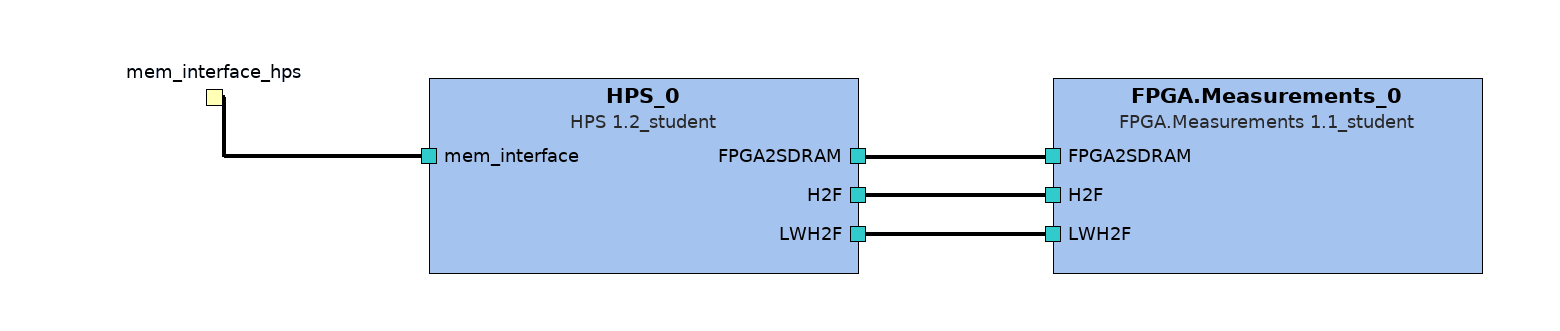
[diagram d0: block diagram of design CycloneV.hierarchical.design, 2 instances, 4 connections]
<?xml version="1.0" encoding="UTF-8"?>
<ipxact:design xmlns:xsi="http://www.w3.org/2001/XMLSchema-instance" xmlns:ipxact="http://www.accellera.org/XMLSchema/IPXACT/1685-2014" xmlns:kactus2="http://kactus2.cs.tut.fi" xsi:schemaLocation="http://www.accellera.org/XMLSchema/IPXACT/1685-2014 http://www.accellera.org/XMLSchema/IPXACT/1685-2014/index.xsd"><ipxact:vendor>TUNI.fi</ipxact:vendor><ipxact:library>chip</ipxact:library><ipxact:name>CycloneV.hierarchical.design</ipxact:name>
 <ipxact:version>1.1_student</ipxact:version><ipxact:componentInstances>
 <ipxact:componentInstance><ipxact:instanceName>FPGA.Measurements_0</ipxact:instanceName><ipxact:componentRef vendor="TUNI.fi" library="soc" name="FPGA.Measurements" version="1.1_student"/></ipxact:componentInstance>
 <ipxact:componentInstance><ipxact:instanceName>HPS_0</ipxact:instanceName><ipxact:componentRef vendor="TUNI.fi" library="soc" name="HPS" version="1.2_student"/></ipxact:componentInstance>
</ipxact:componentInstances><ipxact:interconnections>
 <ipxact:interconnection><ipxact:name>FPGA.Measurements_0_LWH2F_to_HPS_0_LWH2F</ipxact:name><ipxact:activeInterface componentRef="FPGA.Measurements_0" busRef="LWH2F"/><ipxact:activeInterface componentRef="HPS_0" busRef="LWH2F"/></ipxact:interconnection>
 <ipxact:interconnection><ipxact:name>FPGA.Measurements_0_H2F_to_HPS_0_H2F</ipxact:name><ipxact:activeInterface componentRef="FPGA.Measurements_0" busRef="H2F"/><ipxact:activeInterface componentRef="HPS_0" busRef="H2F"/></ipxact:interconnection>
 <ipxact:interconnection><ipxact:name>HPS_0_FPGA2SDRAM_to_FPGA.Measurements_0_FPGA2SDRAM</ipxact:name><ipxact:activeInterface componentRef="HPS_0" busRef="FPGA2SDRAM"/><ipxact:activeInterface componentRef="FPGA.Measurements_0" busRef="FPGA2SDRAM"/></ipxact:interconnection>
 <ipxact:interconnection><ipxact:name>mem_interface_hps</ipxact:name><ipxact:activeInterface componentRef="HPS_0" busRef="mem_interface"/><ipxact:hierInterface busRef="mem_interface_hps"/></ipxact:interconnection>
</ipxact:interconnections></ipxact:design>
<!-- note: WRITE: U.4 end U.5 end U.6 end K.4 end K.5 end K.6 end READ: U.14 start U.15 start U.16 start K.14 start K.15 start K.16 start -->

